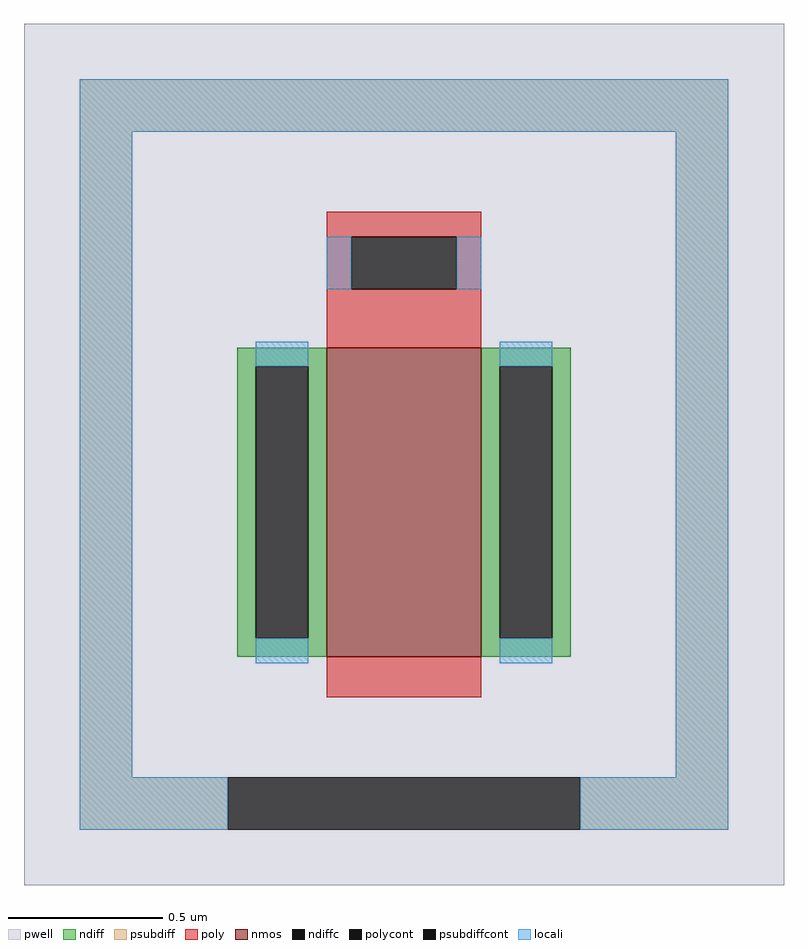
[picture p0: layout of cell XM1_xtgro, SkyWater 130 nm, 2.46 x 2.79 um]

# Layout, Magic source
magic
tech sky130A
magscale 1 2
<< pwell >>
rect -246 -279 246 279
<< nmos >>
rect -50 -131 50 69
<< ndiff >>
rect -108 57 -50 69
rect -108 -119 -96 57
rect -62 -119 -50 57
rect -108 -131 -50 -119
rect 50 57 108 69
rect 50 -119 62 57
rect 96 -119 108 57
rect 50 -131 108 -119
<< ndiffc >>
rect -96 -119 -62 57
rect 62 -119 96 57
<< psubdiff >>
rect -210 209 210 243
rect -210 -209 -176 209
rect 176 -209 210 209
rect -210 -243 -114 -209
rect 114 -243 210 -209
<< psubdiffcont >>
rect -114 -243 114 -209
<< poly >>
rect -50 141 50 157
rect -50 107 -34 141
rect 34 107 50 141
rect -50 69 50 107
rect -50 -157 50 -131
<< polycont >>
rect -34 107 34 141
<< locali >>
rect -210 209 210 243
rect -210 -209 -176 209
rect -50 107 -34 141
rect 34 107 50 141
rect -96 57 -62 73
rect -96 -135 -62 -119
rect 62 57 96 73
rect 62 -135 96 -119
rect 176 -209 210 209
rect -210 -243 -114 -209
rect 114 -243 210 -209
<< properties >>
string FIXED_BBOX -193 -226 193 226
<< end >>
